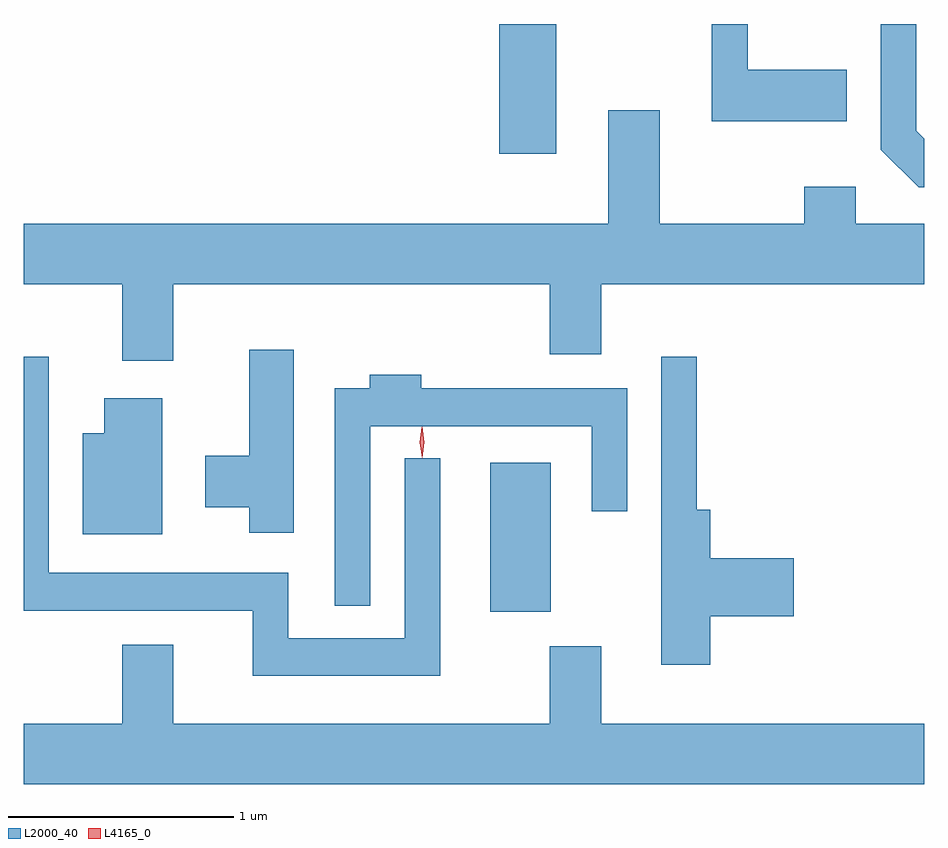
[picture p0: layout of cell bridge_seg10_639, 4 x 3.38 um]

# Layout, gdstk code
import gdstk
lib = gdstk.Library(unit=1e-6, precision=1e-09)
def R(c, l, rs):  # rectangles x0, y0, x1, y1
    for r in rs: c.add(gdstk.rectangle(r[:2], r[2:], *l))
def P(c, l, *ps):  # polygons
    for p in ps: c.add(gdstk.Polygon(p, *l))
L2000_40 = (2000, 40)
L4165_0 = (4165, 0)

bridge_seg10_639 = lib.new_cell('bridge_seg10_639')
R(bridge_seg10_639, L2000_40, [(1018.896,2105.801,1019.164,2106.464), (1018.936,2107.836,1019.189,2108.412)])
P(bridge_seg10_639, L2000_40, [(1020.824,2107.902),(1020.789,2107.937),(1020.789,2108.412),(1020.631,2108.412),(1020.631,2107.854),(1020.799,2107.686),(1020.824,2107.686)],
  [(1020.479,2108.209),(1020.039,2108.209),(1020.039,2108.412),(1019.881,2108.412),(1019.881,2107.981),(1020.479,2107.981)],
  [(1017.489,2107.256),(1019.161,2107.256),(1019.161,2106.946),(1019.389,2106.946),(1019.389,2107.256),(1020.824,2107.256),(1020.824,2107.524),(1020.519,2107.524),(1020.519,2107.689),(1020.291,2107.689),(1020.291,2107.524),(1019.649,2107.524),(1019.649,2108.029),(1019.421,2108.029),(1019.421,2107.524),(1016.824,2107.524),(1016.824,2107.256),(1017.261,2107.256),(1017.261,2106.916),(1017.489,2106.916)],
  [(1018.024,2106.964),(1017.826,2106.964),(1017.826,2106.494),(1017.631,2106.494),(1017.631,2106.266),(1017.826,2106.266),(1017.826,2106.151),(1018.024,2106.151)],
  [(1018.674,2106.483),(1018.516,2106.483),(1018.516,2105.684),(1017.999,2105.684),(1017.999,2105.974),(1016.934,2105.974),(1016.934,2106.933),(1016.824,2106.933),(1016.824,2105.806),(1017.841,2105.806),(1017.841,2105.516),(1018.674,2105.516)],
  [(1019.874,2105.781),(1020.244,2105.781),(1020.244,2106.039),(1019.874,2106.039),(1019.874,2106.254),(1019.814,2106.254),(1019.814,2106.933),(1019.656,2106.933),(1019.656,2105.566),(1019.874,2105.566)],
  [(1018.364,2106.626),(1019.346,2106.626),(1019.346,2106.248),(1019.504,2106.248),(1019.504,2106.794),(1018.589,2106.794),(1018.589,2106.854),(1018.361,2106.854),(1018.361,2106.794),(1018.206,2106.794),(1018.206,2105.828),(1018.364,2105.828)],
  [(1017.439,2106.749),(1017.181,2106.749),(1017.181,2106.594),(1017.086,2106.594),(1017.086,2106.146),(1017.439,2106.146)],
  [(1020.824,2105.304),(1019.389,2105.304),(1019.389,2105.649),(1019.161,2105.649),(1019.161,2105.304),(1017.489,2105.304),(1017.489,2105.654),(1017.261,2105.654),(1017.261,2105.304),(1016.824,2105.304),(1016.824,2105.036),(1020.824,2105.036)])
P(bridge_seg10_639, L4165_0, [(1018.594,2106.487),(1018.594,2106.488),(1018.584,2106.554),(1018.593,2106.62),(1018.594,2106.62),(1018.594,2106.62),(1018.604,2106.554),(1018.594,2106.488)],
  [(1018.594,2106.484),(1018.594,2106.484),(1018.584,2106.553),(1018.594,2106.623),(1018.594,2106.623),(1018.595,2106.623),(1018.604,2106.553),(1018.595,2106.484)])

lib.write_gds('bridge_seg10_639.gds')
